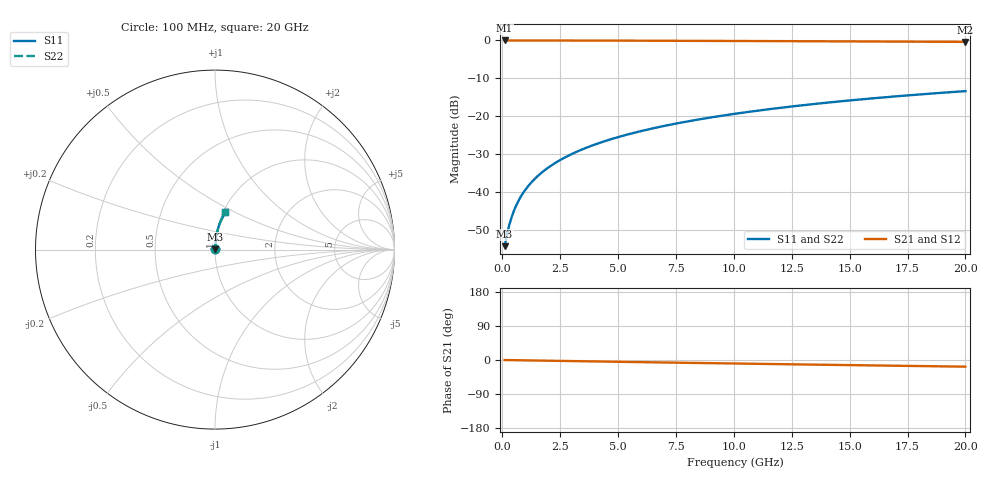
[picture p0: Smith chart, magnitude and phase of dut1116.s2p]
! Touchstone file exported from HFSS 2024.1.0
!  File:  C:/UserFiles/LocalFiles/RDL_TSV_Batchsim/temp_RDL_bottom_1116_1780054652.aedt
!  Generated:  07:39:58 PM May 29, 2026
!  Design:  RDL_bottom
!  Project:  temp_RDL_bottom_1116_1780054652
!  Setup:  Setup1
!  Solution:  Sweep
! Variables:
!  dtsv = 10.80580581um
!  hbump = 3um
!  htsv = 75.15um
!  ldown = 211.11um
!  lrdl = 100um
!  p = 40
!  p1 = 41.76um
!  rhole = 1um
!  t = 450um
!  tdown = 3.8um
!  trdl = 3.915915916um
!  wdown = 13.43um
!  wrdl = 20um
# GHz S MA R 50.000000
! Terminal data exported
! Port[1] = RDL1_T1
! Port[2] = RDL1_T2
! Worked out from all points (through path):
!   200 points, 100 MHz to 20 GHz, reference 50 ohm
!   highest |S21| = -0.01 dB at 100 MHz (marker M1); lowest = -0.4 dB at 20 GHz (marker M2)
!   group delay of S21, straight-line fit = 2.44 ps
!   lowest |S11| = -54.2 dB at 100 MHz (marker M3), VSWR 1.00, Z = 50.2 + j0.112 ohm
!   |S11| at or under -10 dB: start of sweep to end of sweep
!   |S22| runs from -54.2 to -13.3 dB; largest |S21 - S12| = 3e-15
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0.1  0.00196 34.6  0.9984 -0.1  0.9984 -0.1  0.00196 34.6
! Gamma 0 0 0 0
! Port Impedance 50 0 50 0
0.2  0.002759 53.4  0.9984 -0.2  0.9984 -0.2  0.002759 53.4
0.3  0.003705 62.9  0.9983 -0.3  0.9983 -0.3  0.003705 62.9
0.4  0.004698 68.4  0.9983 -0.4  0.9983 -0.4  0.004698 68.4
0.5  0.005709 71.9  0.9982 -0.5  0.9982 -0.5  0.005709 71.9
0.6  0.00673 74.4  0.9981 -0.6  0.9981 -0.6  0.00673 74.4
0.8  0.008788 77.7  0.9981 -0.8  0.9981 -0.8  0.008788 77.7
1.1  0.01191 80.5  0.9979 -1.1  0.9979 -1.1  0.01191 80.5
1.5  0.0161 82.5  0.9977 -1.5  0.9977 -1.5  0.0161 82.5
1.8  0.01926 83.4  0.9974 -1.7  0.9974 -1.7  0.01926 83.4
2.1  0.02243 84.0  0.9972 -2.0  0.9972 -2.0  0.02243 84.0
2.7  0.02879 84.7  0.9966 -2.6  0.9966 -2.6  0.02879 84.7
3.5  0.0373 85.1  0.9957 -3.4  0.9957 -3.4  0.0373 85.1
4.2  0.04478 85.1  0.9947 -4.0  0.9947 -4.0  0.04478 85.1
5  0.05337 85.0  0.9933 -4.8  0.9933 -4.8  0.05337 85.0
5.9  0.06308 84.7  0.9917 -5.6  0.9917 -5.6  0.06307 84.7
6.8  0.07282 84.3  0.9899 -6.4  0.9899 -6.4  0.07282 84.3
8.3  0.08915 83.5  0.9867 -7.8  0.9867 -7.8  0.08915 83.5
10.1  0.1088 82.3  0.9826 -9.3  0.9826 -9.3  0.1088 82.3
13.4  0.1448 79.8  0.9745 -12.2  0.9745 -12.2  0.1448 79.8
16.7  0.1804 77.2  0.9657 -14.9  0.9657 -14.9  0.1804 77.2
20  0.2151 74.5  0.9564 -17.6  0.9564 -17.6  0.2151 74.4
